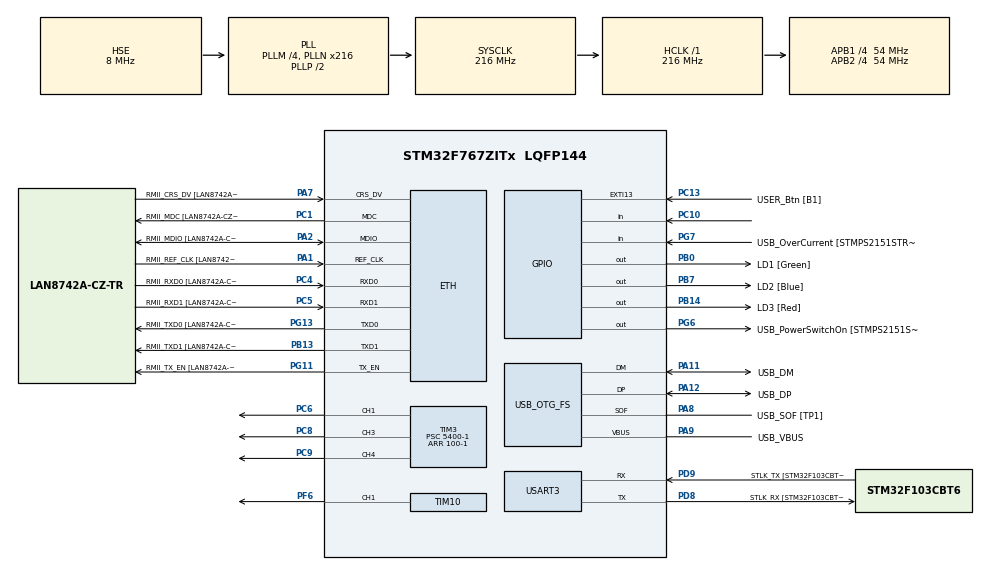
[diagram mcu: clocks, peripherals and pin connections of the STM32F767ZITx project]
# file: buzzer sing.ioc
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ETH.MediaInterface=HAL_ETH_RMII_MODE
ETH.PHY_Name=LAN8742A_PHY_ADDRESS
ETH.PHY_Value=0
ETH.PhyAddress=0
Mcu.Family=STM32F7
Mcu.Name=STM32F767ZITx
Mcu.Package=LQFP144
NVIC.PriorityGroup=NVIC_PRIORITYGROUP_4
PA1.GPIO_Label=RMII_REF_CLK [LAN8742A-CZ-TR_REFCLK0]
PA1.Mode=RMII
PA1.Signal=ETH_REF_CLK
PA10.GPIO_Label=USB_ID
PA10.Signal=USB_OTG_FS_ID
PA11.GPIO_Label=USB_DM
PA11.Mode=Device_Only
PA11.Signal=USB_OTG_FS_DM
PA12.GPIO_Label=USB_DP
PA12.Mode=Device_Only
PA12.Signal=USB_OTG_FS_DP
PA13.GPIO_Label=TMS
PA13.Mode=Serial_Wire
PA13.Signal=SYS_JTMS-SWDIO
PA14.GPIO_Label=TCK
PA14.Mode=Serial_Wire
PA14.Signal=SYS_JTCK-SWCLK
PA2.GPIO_Label=RMII_MDIO [LAN8742A-CZ-TR_MDIO]
PA2.Mode=RMII
PA2.Signal=ETH_MDIO
PA7.GPIO_Label=RMII_CRS_DV [LAN8742A-CZ-TR_CRS_DV]
PA7.Mode=RMII
PA7.Signal=ETH_CRS_DV
PA8.GPIO_Label=USB_SOF [TP1]
PA8.Mode=Activate_SOF_FS
PA8.Signal=USB_OTG_FS_SOF
PA9.GPIO_Label=USB_VBUS
PA9.Mode=Activate_VBUS
PA9.Signal=USB_OTG_FS_VBUS
PB0.GPIO_Label=LD1 [Green]
PB0.Signal=GPIO_Output
PB13.GPIO_Label=RMII_TXD1 [LAN8742A-CZ-TR_TXD1]
PB13.Mode=RMII
PB13.Signal=ETH_TXD1
PB14.GPIO_Label=LD3 [Red]
PB14.Signal=GPIO_Output
PB3.GPIO_Label=SWO
PB3.Signal=SYS_JTDO-SWO
PB7.GPIO_Label=LD2 [Blue]
PB7.Signal=GPIO_Output
PC1.GPIO_Label=RMII_MDC [LAN8742A-CZ-TR_MDC]
PC1.Mode=RMII
PC1.Signal=ETH_MDC
PC10.Signal=GPIO_Input
PC13.GPIO_Label=USER_Btn [B1]
PC13.Signal=GPXTI13
PC14/OSC32_IN.Mode=LSE-External-Oscillator
PC14/OSC32_IN.Signal=RCC_OSC32_IN
PC15/OSC32_OUT.Mode=LSE-External-Oscillator
PC15/OSC32_OUT.Signal=RCC_OSC32_OUT
PC4.GPIO_Label=RMII_RXD0 [LAN8742A-CZ-TR_RXD0]
PC4.Mode=RMII
PC4.Signal=ETH_RXD0
PC5.GPIO_Label=RMII_RXD1 [LAN8742A-CZ-TR_RXD1]
PC5.Mode=RMII
PC5.Signal=ETH_RXD1
PC6.Signal=S_TIM3_CH1
PC8.Signal=S_TIM3_CH3
PC9.Signal=S_TIM3_CH4
PD8.GPIO_Label=STLK_RX [STM32F103CBT6_PA3]
PD8.Mode=Asynchronous
PD8.Signal=USART3_TX
PD9.GPIO_Label=STLK_TX [STM32F103CBT6_PA2]
PD9.Mode=Asynchronous
PD9.Signal=USART3_RX
PF6.Signal=S_TIM10_CH1
PG11.GPIO_Label=RMII_TX_EN [LAN8742A-CZ-TR_TXEN]
PG11.Mode=RMII
PG11.Signal=ETH_TX_EN
PG13.GPIO_Label=RMII_TXD0 [LAN8742A-CZ-TR_TXD0]
PG13.Mode=RMII
PG13.Signal=ETH_TXD0
PG6.GPIO_Label=USB_PowerSwitchOn [STMPS2151STR_EN]
PG6.Signal=GPIO_Output
PG7.GPIO_Label=USB_OverCurrent [STMPS2151STR_FAULT]
PG7.Signal=GPIO_Input
PH0/OSC_IN.GPIO_Label=MCO [STM32F103CBT6_PA8]
PH0/OSC_IN.Mode=HSE-External-Clock-Source
PH0/OSC_IN.Signal=RCC_OSC_IN
PH1/OSC_OUT.Mode=HSE-External-Clock-Source
PH1/OSC_OUT.Signal=RCC_OSC_OUT
ProjectManager.HeapSize=0x200
ProjectManager.StackSize=0x400
ProjectManager.TargetToolchain=STM32CubeIDE
RCC.48MHZClocksFreq_Value=24000000
RCC.AHBFreq_Value=216000000
RCC.APB1CLKDivider=RCC_HCLK_DIV4
RCC.APB1Freq_Value=54000000
RCC.APB1TimFreq_Value=108000000
RCC.APB2CLKDivider=RCC_HCLK_DIV4
RCC.APB2Freq_Value=54000000
RCC.APB2TimFreq_Value=108000000
RCC.CortexFreq_Value=216000000
RCC.HCLKFreq_Value=216000000
RCC.HSE_VALUE=8000000
RCC.HSI_VALUE=16000000
RCC.PLLM=4
RCC.PLLMUL=RCC_PLL_MUL9
RCC.PLLN=216
RCC.PLLQ=9
RCC.PRESCALERUSB=RCC_USBCLKSOURCE_PLL_DIV1_5
RCC.SYSCLKFreq_VALUE=216000000
RCC.SYSCLKSource=RCC_SYSCLKSOURCE_PLLCLK
RCC.SYSCLKSourceVirtual=RCC_SYSCLKSOURCE_PLLCLK
RCC.USBFreq_Value=48000000
RCC.VCOOutputFreq_Value=432000000
SH.S_TIM10_CH1.0=TIM10_CH1,PWM Generation1 CH1
SH.S_TIM3_CH1.0=TIM3_CH1,PWM Generation1 CH1
SH.S_TIM3_CH3.0=TIM3_CH3,PWM Generation3 CH3
SH.S_TIM3_CH4.0=TIM3_CH4,PWM Generation4 CH4
TIM10.Channel=TIM_CHANNEL_1
TIM10.Period=100-1
TIM10.Prescaler=5400
TIM3.Channel-PWM\ Generation1\ CH1=TIM_CHANNEL_1
TIM3.Channel-PWM\ Generation3\ CH3=TIM_CHANNEL_3
TIM3.Channel-PWM\ Generation4\ CH4=TIM_CHANNEL_4
TIM3.Period=100-1
TIM3.Prescaler=5400-1
USART3.VirtualMode-Asynchronous=VM_ASYNC
USB_OTG_FS.VirtualMode=Device_Only
VP_TIM10_VS_ClockSourceINT.Mode=Enable_Timer
board=NUCLEO-F767ZI

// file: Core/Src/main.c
/* USER CODE BEGIN Header */
/**
  ******************************************************************************
  * @file           : main.c
  * @brief          : Main program body
  ******************************************************************************
  * @attention
  *
  * Copyright (c) 2024 STMicroelectronics.
  * All rights reserved.
  *
  * This software is licensed under terms that can be found in the LICENSE file
  * in the root directory of this software component.
  * If no LICENSE file comes with this software, it is provided AS-IS.
  *
  ******************************************************************************
  */
/* USER CODE END Header */
#include "main.h"
#include "string.h"

/* USER CODE BEGIN PD */

uint8_t touchState = 0;
uint8_t cycleDelay = 2;
uint32_t channels[] = {TIM_CHANNEL_1, TIM_CHANNEL_3, TIM_CHANNEL_4};

/* USER CODE END PD */

#if defined ( __ICCARM__ ) /*!< IAR Compiler */
#pragma location=0x2007c000
ETH_DMADescTypeDef  DMARxDscrTab[ETH_RX_DESC_CNT]; /* Ethernet Rx DMA Descriptors */
#pragma location=0x2007c0a0
ETH_DMADescTypeDef  DMATxDscrTab[ETH_TX_DESC_CNT]; /* Ethernet Tx DMA Descriptors */

#elif defined ( __CC_ARM )  /* MDK ARM Compiler */

__attribute__((at(0x2007c000))) ETH_DMADescTypeDef  DMARxDscrTab[ETH_RX_DESC_CNT]; /* Ethernet Rx DMA Descriptors */
__attribute__((at(0x2007c0a0))) ETH_DMADescTypeDef  DMATxDscrTab[ETH_TX_DESC_CNT]; /* Ethernet Tx DMA Descriptors */

#elif defined ( __GNUC__ ) /* GNU Compiler */

ETH_DMADescTypeDef DMARxDscrTab[ETH_RX_DESC_CNT] __attribute__((section(".RxDecripSection"))); /* Ethernet Rx DMA Descriptors */
ETH_DMADescTypeDef DMATxDscrTab[ETH_TX_DESC_CNT] __attribute__((section(".TxDecripSection")));   /* Ethernet Tx DMA Descriptors */
#endif

ETH_TxPacketConfig TxConfig;

ETH_HandleTypeDef heth;

TIM_HandleTypeDef htim3;
TIM_HandleTypeDef htim10;

UART_HandleTypeDef huart3;

PCD_HandleTypeDef hpcd_USB_OTG_FS;

void SystemClock_Config(void);
static void MX_GPIO_Init(void);
static void MX_ETH_Init(void);
static void MX_USART3_UART_Init(void);
static void MX_USB_OTG_FS_PCD_Init(void);
static void MX_TIM10_Init(void);
static void MX_TIM3_Init(void);

/* USER CODE BEGIN 0 */

void playBuzzerTone(uint16_t duration) {
    HAL_TIM_PWM_Start(&htim10, TIM_CHANNEL_1);

    HAL_Delay(duration);
    HAL_TIM_PWM_Stop(&htim10, TIM_CHANNEL_1);
}

void LED_RGB_Cycle(TIM_HandleTypeDef *htim) {

	playBuzzerTone(500);

	for (int i = 0; i < 3; i++) {
	  HAL_TIM_PWM_Start(&htim3, channels[i]);
    }
	playBuzzerTone(100);

	const int RED = 0, GREEN = 1, BLUE = 2;

	// Full RGB effect
	for (int dutyCycle = 0; dutyCycle <= 100; dutyCycle++) {
		// Red to Yellow (Red + Green)
		__HAL_TIM_SET_COMPARE(htim, channels[RED], dutyCycle);
		__HAL_TIM_SET_COMPARE(htim, channels[GREEN], dutyCycle);
		__HAL_TIM_SET_COMPARE(htim, channels[BLUE], 0);
		HAL_Delay(cycleDelay);
	}
	playBuzzerTone(100);

	for (int dutyCycle = 100; dutyCycle >= 0; dutyCycle--) {
		// Yellow to Green
		__HAL_TIM_SET_COMPARE(htim, channels[RED], dutyCycle);
		__HAL_TIM_SET_COMPARE(htim, channels[GREEN], 100);
		__HAL_TIM_SET_COMPARE(htim, channels[BLUE], 0);
		HAL_Delay(cycleDelay);
	}
	playBuzzerTone(100);

	for (int dutyCycle = 0; dutyCycle <= 100; dutyCycle++) {
		// Green to Cyan (Green + Blue)
		__HAL_TIM_SET_COMPARE(htim, channels[RED], 0);
		__HAL_TIM_SET_COMPARE(htim, channels[GREEN], 100);
		__HAL_TIM_SET_COMPARE(htim, channels[BLUE], dutyCycle);
		HAL_Delay(cycleDelay);
	}
	playBuzzerTone(100);

	for (int dutyCycle = 100; dutyCycle >= 0; dutyCycle--) {
		// Cyan to Blue
		__HAL_TIM_SET_COMPARE(htim, channels[RED], 0);
		__HAL_TIM_SET_COMPARE(htim, channels[GREEN], dutyCycle);
		__HAL_TIM_SET_COMPARE(htim, channels[BLUE], 100);
		HAL_Delay(cycleDelay);
	}
	playBuzzerTone(100);

	for (int dutyCycle = 0; dutyCycle <= 100; dutyCycle++) {
		// Blue to Magenta (Blue + Red)
		__HAL_TIM_SET_COMPARE(htim, channels[RED], dutyCycle);
		__HAL_TIM_SET_COMPARE(htim, channels[GREEN], 0);
		__HAL_TIM_SET_COMPARE(htim, channels[BLUE], 100);
		HAL_Delay(cycleDelay);
	}
	playBuzzerTone(100);

	for (int dutyCycle = 100; dutyCycle >= 0; dutyCycle--) {
		// Magenta to Red
		__HAL_TIM_SET_COMPARE(htim, channels[RED], 100);
		__HAL_TIM_SET_COMPARE(htim, channels[GREEN], 0);
		__HAL_TIM_SET_COMPARE(htim, channels[BLUE], dutyCycle);
		HAL_Delay(cycleDelay);
	}
	playBuzzerTone(100);

	for (int i = 0; i < 3; i++) {
	  HAL_TIM_PWM_Stop(&htim3, channels[i]);
    }

	playBuzzerTone(500);

}

/* USER CODE END 0 */

int main(void)
{

  /* MCU Configuration--------------------------------------------------------*/

  /* Reset of all peripherals, Initializes the Flash interface and the Systick. */
  HAL_Init();

  /* Configure the system clock */
  SystemClock_Config();

  /* Initialize all configured peripherals */
  MX_GPIO_Init();
  MX_ETH_Init();
  MX_USART3_UART_Init();
  MX_USB_OTG_FS_PCD_Init();
  MX_TIM10_Init();
  MX_TIM3_Init();

  /* Infinite loop */
  /* USER CODE BEGIN WHILE */
  while (1)
  {
	  if (HAL_GPIO_ReadPin(GPIOC, GPIO_PIN_10)){
		touchState = 1;
	  }
	  else{
		touchState = 0;
	  }

	  if (touchState == 1) {
		  LED_RGB_Cycle(&htim3);
	  }

    /* USER CODE END WHILE */

  }
}

void SystemClock_Config(void)
{
  RCC_OscInitTypeDef RCC_OscInitStruct = {0};
  RCC_ClkInitTypeDef RCC_ClkInitStruct = {0};

  /** Configure LSE Drive Capability
  */
  HAL_PWR_EnableBkUpAccess();

  /** Configure the main internal regulator output voltage
  */
  __HAL_RCC_PWR_CLK_ENABLE();
  __HAL_PWR_VOLTAGESCALING_CONFIG(PWR_REGULATOR_VOLTAGE_SCALE1);

  /** Initializes the RCC Oscillators according to the specified parameters
  * in the RCC_OscInitTypeDef structure.
  */
  RCC_OscInitStruct.OscillatorType = RCC_OSCILLATORTYPE_HSE;
  RCC_OscInitStruct.HSEState = RCC_HSE_BYPASS;
  RCC_OscInitStruct.PLL.PLLState = RCC_PLL_ON;
  RCC_OscInitStruct.PLL.PLLSource = RCC_PLLSOURCE_HSE;
  RCC_OscInitStruct.PLL.PLLM = 4;
  RCC_OscInitStruct.PLL.PLLN = 216;
  RCC_OscInitStruct.PLL.PLLP = RCC_PLLP_DIV2;
  RCC_OscInitStruct.PLL.PLLQ = 9;
  RCC_OscInitStruct.PLL.PLLR = 2;
  if (HAL_RCC_OscConfig(&RCC_OscInitStruct) != HAL_OK)
  {
    Error_Handler();
  }

  /** Activate the Over-Drive mode
  */
  if (HAL_PWREx_EnableOverDrive() != HAL_OK)
  {
    Error_Handler();
  }

  /** Initializes the CPU, AHB and APB buses clocks
  */
  RCC_ClkInitStruct.ClockType = RCC_CLOCKTYPE_HCLK|RCC_CLOCKTYPE_SYSCLK
                              |RCC_CLOCKTYPE_PCLK1|RCC_CLOCKTYPE_PCLK2;
  RCC_ClkInitStruct.SYSCLKSource = RCC_SYSCLKSOURCE_PLLCLK;
  RCC_ClkInitStruct.AHBCLKDivider = RCC_SYSCLK_DIV1;
  RCC_ClkInitStruct.APB1CLKDivider = RCC_HCLK_DIV4;
  RCC_ClkInitStruct.APB2CLKDivider = RCC_HCLK_DIV4;

  if (HAL_RCC_ClockConfig(&RCC_ClkInitStruct, FLASH_LATENCY_7) != HAL_OK)
  {
    Error_Handler();
  }
}

static void MX_ETH_Init(void)
{

   static uint8_t MACAddr[6];

  heth.Instance = ETH;
  MACAddr[0] = 0x00;
  MACAddr[1] = 0x80;
  MACAddr[2] = 0xE1;
  MACAddr[3] = 0x00;
  MACAddr[4] = 0x00;
  MACAddr[5] = 0x00;
  heth.Init.MACAddr = &MACAddr[0];
  heth.Init.MediaInterface = HAL_ETH_RMII_MODE;
  heth.Init.TxDesc = DMATxDscrTab;
  heth.Init.RxDesc = DMARxDscrTab;
  heth.Init.RxBuffLen = 1524;

  if (HAL_ETH_Init(&heth) != HAL_OK)
  {
    Error_Handler();
  }

  memset(&TxConfig, 0 , sizeof(ETH_TxPacketConfig));
  TxConfig.Attributes = ETH_TX_PACKETS_FEATURES_CSUM | ETH_TX_PACKETS_FEATURES_CRCPAD;
  TxConfig.ChecksumCtrl = ETH_CHECKSUM_IPHDR_PAYLOAD_INSERT_PHDR_CALC;
  TxConfig.CRCPadCtrl = ETH_CRC_PAD_INSERT;

}

static void MX_TIM3_Init(void)
{

  TIM_MasterConfigTypeDef sMasterConfig = {0};
  TIM_OC_InitTypeDef sConfigOC = {0};

  htim3.Instance = TIM3;
  htim3.Init.Prescaler = 5400-1;
  htim3.Init.CounterMode = TIM_COUNTERMODE_UP;
  htim3.Init.Period = 100-1;
  htim3.Init.ClockDivision = TIM_CLOCKDIVISION_DIV1;
  htim3.Init.AutoReloadPreload = TIM_AUTORELOAD_PRELOAD_DISABLE;
  if (HAL_TIM_PWM_Init(&htim3) != HAL_OK)
  {
    Error_Handler();
  }
  sMasterConfig.MasterOutputTrigger = TIM_TRGO_RESET;
  sMasterConfig.MasterSlaveMode = TIM_MASTERSLAVEMODE_DISABLE;
  if (HAL_TIMEx_MasterConfigSynchronization(&htim3, &sMasterConfig) != HAL_OK)
  {
    Error_Handler();
  }
  sConfigOC.OCMode = TIM_OCMODE_PWM1;
  sConfigOC.Pulse = 0;
  sConfigOC.OCPolarity = TIM_OCPOLARITY_HIGH;
  sConfigOC.OCFastMode = TIM_OCFAST_DISABLE;
  if (HAL_TIM_PWM_ConfigChannel(&htim3, &sConfigOC, TIM_CHANNEL_1) != HAL_OK)
  {
    Error_Handler();
  }
  if (HAL_TIM_PWM_ConfigChannel(&htim3, &sConfigOC, TIM_CHANNEL_3) != HAL_OK)
  {
    Error_Handler();
  }
  if (HAL_TIM_PWM_ConfigChannel(&htim3, &sConfigOC, TIM_CHANNEL_4) != HAL_OK)
  {
    Error_Handler();
  }
  HAL_TIM_MspPostInit(&htim3);

}

static void MX_TIM10_Init(void)
{

  TIM_OC_InitTypeDef sConfigOC = {0};

  htim10.Instance = TIM10;
  htim10.Init.Prescaler = 5400;
  htim10.Init.CounterMode = TIM_COUNTERMODE_UP;
  htim10.Init.Period = 100-1;
  htim10.Init.ClockDivision = TIM_CLOCKDIVISION_DIV1;
  htim10.Init.AutoReloadPreload = TIM_AUTORELOAD_PRELOAD_DISABLE;
  if (HAL_TIM_Base_Init(&htim10) != HAL_OK)
  {
    Error_Handler();
  }
  if (HAL_TIM_PWM_Init(&htim10) != HAL_OK)
  {
    Error_Handler();
  }
  sConfigOC.OCMode = TIM_OCMODE_PWM1;
  sConfigOC.Pulse = 0;
  sConfigOC.OCPolarity = TIM_OCPOLARITY_HIGH;
  sConfigOC.OCFastMode = TIM_OCFAST_DISABLE;
  if (HAL_TIM_PWM_ConfigChannel(&htim10, &sConfigOC, TIM_CHANNEL_1) != HAL_OK)
  {
    Error_Handler();
  }
  HAL_TIM_MspPostInit(&htim10);

}

static void MX_USART3_UART_Init(void)
{

  huart3.Instance = USART3;
  huart3.Init.BaudRate = 115200;
  huart3.Init.WordLength = UART_WORDLENGTH_8B;
  huart3.Init.StopBits = UART_STOPBITS_1;
  huart3.Init.Parity = UART_PARITY_NONE;
  huart3.Init.Mode = UART_MODE_TX_RX;
  huart3.Init.HwFlowCtl = UART_HWCONTROL_NONE;
  huart3.Init.OverSampling = UART_OVERSAMPLING_16;
  huart3.Init.OneBitSampling = UART_ONE_BIT_SAMPLE_DISABLE;
  huart3.AdvancedInit.AdvFeatureInit = UART_ADVFEATURE_NO_INIT;
  if (HAL_UART_Init(&huart3) != HAL_OK)
  {
    Error_Handler();
  }

}

static void MX_USB_OTG_FS_PCD_Init(void)
{

  hpcd_USB_OTG_FS.Instance = USB_OTG_FS;
  hpcd_USB_OTG_FS.Init.dev_endpoints = 6;
  hpcd_USB_OTG_FS.Init.speed = PCD_SPEED_FULL;
  hpcd_USB_OTG_FS.Init.dma_enable = DISABLE;
  hpcd_USB_OTG_FS.Init.phy_itface = PCD_PHY_EMBEDDED;
  hpcd_USB_OTG_FS.Init.Sof_enable = ENABLE;
  hpcd_USB_OTG_FS.Init.low_power_enable = DISABLE;
  hpcd_USB_OTG_FS.Init.lpm_enable = DISABLE;
  hpcd_USB_OTG_FS.Init.vbus_sensing_enable = ENABLE;
  hpcd_USB_OTG_FS.Init.use_dedicated_ep1 = DISABLE;
  if (HAL_PCD_Init(&hpcd_USB_OTG_FS) != HAL_OK)
  {
    Error_Handler();
  }

}

static void MX_GPIO_Init(void)
{
  GPIO_InitTypeDef GPIO_InitStruct = {0};

  /* GPIO Ports Clock Enable */
  __HAL_RCC_GPIOC_CLK_ENABLE();
  __HAL_RCC_GPIOF_CLK_ENABLE();
  __HAL_RCC_GPIOH_CLK_ENABLE();
  __HAL_RCC_GPIOA_CLK_ENABLE();
  __HAL_RCC_GPIOB_CLK_ENABLE();
  __HAL_RCC_GPIOD_CLK_ENABLE();
  __HAL_RCC_GPIOG_CLK_ENABLE();

  /*Configure GPIO pin Output Level */
  HAL_GPIO_WritePin(GPIOB, LD1_Pin|LD3_Pin|LD2_Pin, GPIO_PIN_RESET);

  /*Configure GPIO pin Output Level */
  HAL_GPIO_WritePin(USB_PowerSwitchOn_GPIO_Port, USB_PowerSwitchOn_Pin, GPIO_PIN_RESET);

  /*Configure GPIO pin : USER_Btn_Pin */
  GPIO_InitStruct.Pin = USER_Btn_Pin;
  GPIO_InitStruct.Mode = GPIO_MODE_IT_RISING;
  GPIO_InitStruct.Pull = GPIO_NOPULL;
  HAL_GPIO_Init(USER_Btn_GPIO_Port, &GPIO_InitStruct);

  /*Configure GPIO pins : LD1_Pin LD3_Pin LD2_Pin */
  GPIO_InitStruct.Pin = LD1_Pin|LD3_Pin|LD2_Pin;
  GPIO_InitStruct.Mode = GPIO_MODE_OUTPUT_PP;
  GPIO_InitStruct.Pull = GPIO_NOPULL;
  GPIO_InitStruct.Speed = GPIO_SPEED_FREQ_LOW;
  HAL_GPIO_Init(GPIOB, &GPIO_InitStruct);

  /*Configure GPIO pin : USB_PowerSwitchOn_Pin */
  GPIO_InitStruct.Pin = USB_PowerSwitchOn_Pin;
  GPIO_InitStruct.Mode = GPIO_MODE_OUTPUT_PP;
  GPIO_InitStruct.Pull = GPIO_NOPULL;
  GPIO_InitStruct.Speed = GPIO_SPEED_FREQ_LOW;
  HAL_GPIO_Init(USB_PowerSwitchOn_GPIO_Port, &GPIO_InitStruct);

  /*Configure GPIO pin : USB_OverCurrent_Pin */
  GPIO_InitStruct.Pin = USB_OverCurrent_Pin;
  GPIO_InitStruct.Mode = GPIO_MODE_INPUT;
  GPIO_InitStruct.Pull = GPIO_NOPULL;
  HAL_GPIO_Init(USB_OverCurrent_GPIO_Port, &GPIO_InitStruct);

  /*Configure GPIO pin : PC10 */
  GPIO_InitStruct.Pin = GPIO_PIN_10;
  GPIO_InitStruct.Mode = GPIO_MODE_INPUT;
  GPIO_InitStruct.Pull = GPIO_NOPULL;
  HAL_GPIO_Init(GPIOC, &GPIO_InitStruct);

}

void Error_Handler(void)
{
  __disable_irq();
  while (1)
  {
  }
}
